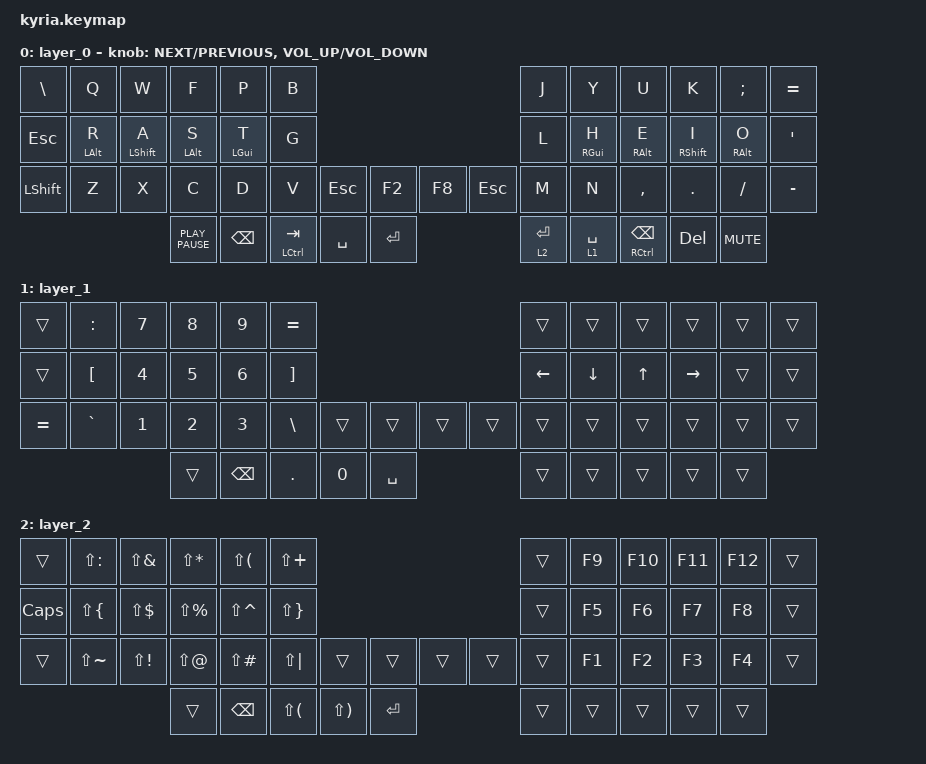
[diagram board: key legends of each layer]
#include <behaviors.dtsi>
#include <dt-bindings/zmk/keys.h>

/*
  KEY POSITIONS
  ╭────────────────────────╮                 ╭────────────────────────╮
  │ 0   1   2   3   4   5  │                 │ 6   7   8   9   10  11 │
  │ 12  13  14  15  16  17 ╰───────╮ ╭───────╯ 18  19  20  21  22  23 │
  │ 24  25  26  27  28  29  30  31 │ │ 32  33  34  35  36  37  38  39 │
  ╰───────────╮ 40  41  42  43  44 │ │ 45  46  47  48  49 ╭───────────╯
			  ╰────────────────────╯ ╰────────────────────╯
*/

#define KEYS_L 0 1 2 3 4 5 12 13 14 15 16 17 24 25 26 27 28 29
#define KEYS_R 6 7 8 9 10 11 18 19 20 21 22 23 34 35 36 37 38 39
#define THUMBS 30 31 40 41 42 43 44 32 33 45 46 47 48 49




/ {

    behaviors {
        hml: home_row_mod_left {
            compatible = "zmk,behavior-hold-tap";
            #binding-cells = <2>;
            flavor = "balanced";
			tapping-term-ms = <280>;
			quick-tap-ms = <175>;
            require-prior-idle-ms = <150>;
            bindings = <&kp>, <&kp>;
            hold-trigger-key-positions = <KEYS_R THUMBS>; // List of keys on the right side of the keyboard
            hold-trigger-on-release;
        };

        hmr: home_row_mod_right {
            compatible = "zmk,behavior-hold-tap";
            #binding-cells = <2>;
            flavor = "balanced";
			tapping-term-ms = <280>;
			quick-tap-ms = <175>;
            require-prior-idle-ms = <150>;
            bindings = <&kp>, <&kp>;
            hold-trigger-key-positions = <KEYS_L THUMBS>; // List of keys on the left side of the keyboard
            hold-trigger-on-release;
        };
    };

    keymap {
        compatible = "zmk,keymap";

        layer_0 {
            bindings = <
&kp BACKSLASH   &kp Q               &kp W             &kp F             &kp P           &kp B                                                  &kp J     &kp Y            &kp U            &kp K              &kp SEMI             &kp EQUAL
&kp ESC         &hml LEFT_ALT R  &hml LEFT_SHIFT A  &hml LEFT_ALT S    &hml LEFT_GUI T  &kp G                                                  &kp L     &hmr RIGHT_GUI H  &hmr RIGHT_ALT E  &hmr RIGHT_SHIFT I  &hmr RIGHT_ALT O  &kp SQT
&kp LEFT_SHIFT  &kp Z               &kp X             &kp C             &kp D           &kp V    &kp ESC     &kp F2   &kp F8       &kp ESC      &kp M     &kp N            &kp COMMA        &kp DOT            &kp FSLH             &kp MINUS
                                                      &kp K_PLAY_PAUSE  &kp BSPC        &hml LEFT_CONTROL TAB  &kp SPACE  &kp RET  &lt 2 ENTER  &lt 1 SPACE  &hmr RIGHT_CONTROL BSPC  &kp DEL          &kp K_MUTE
            >;

            sensor-bindings =
                <&inc_dec_kp K_NEXT K_PREVIOUS>,
                <&inc_dec_kp K_VOLUME_UP K_VOLUME_DOWN>;
        };

        layer_1 {
            bindings = <
&trans     &kp COLON  &kp N7  &kp N8  &kp N9    &kp EQUAL                                     &trans    &trans    &trans  &trans     &trans  &trans
&trans     &kp LBKT   &kp N4  &kp N5  &kp N6    &kp RBKT                                      &kp LEFT  &kp DOWN  &kp UP  &kp RIGHT  &trans  &trans
&kp EQUAL  &kp GRAVE  &kp N1  &kp N2  &kp N3    &kp BSLH   &trans  &trans     &trans  &trans  &trans    &trans    &trans  &trans     &trans  &trans
                              &trans  &kp BSPC  &kp DOT    &kp N0  &kp SPACE  &trans  &trans  &trans    &trans    &trans
            >;
        };

        layer_2 {
            bindings = <
&trans    &kp LS(COLON)  &kp LS(AMPS)  &kp LS(STAR)   &kp LS(LPAR)   &kp LS(PLUS)                                         &trans  &kp F9  &kp F10  &kp F11  &kp F12  &trans
&kp CAPS  &kp LS(LBRC)   &kp LS(DLLR)  &kp LS(PRCNT)  &kp LS(CARET)  &kp LS(RBRC)                                         &trans  &kp F5  &kp F6   &kp F7   &kp F8   &trans
&trans    &kp LS(TILDE)  &kp LS(EXCL)  &kp LS(AT)     &kp LS(POUND)  &kp LS(PIPE)  &trans        &trans   &trans  &trans  &trans  &kp F1  &kp F2   &kp F3   &kp F4   &trans
                                       &trans         &kp BSPC       &kp LS(LPAR)  &kp LS(RPAR)  &kp RET  &trans  &trans  &trans  &trans  &trans
            >;
        };
    };
};
